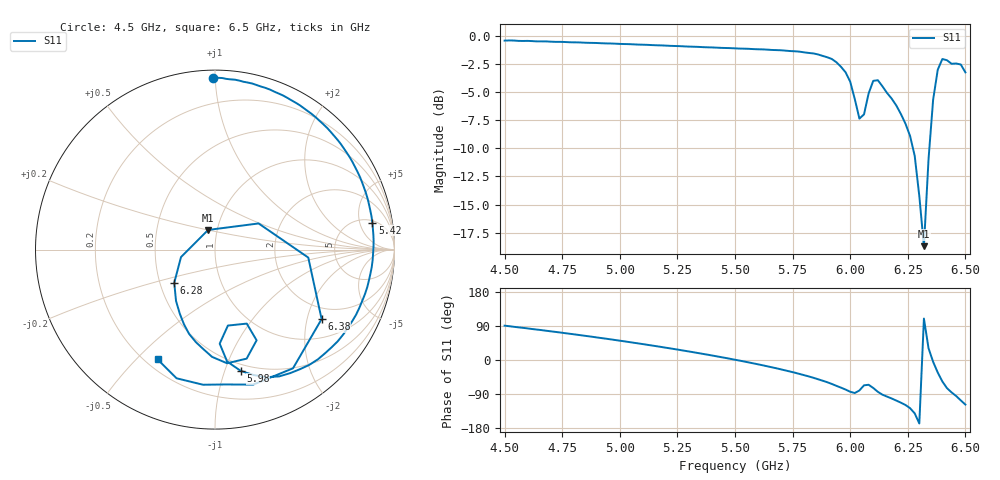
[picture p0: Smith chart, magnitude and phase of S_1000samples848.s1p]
! TOUCHSTONE file generated by CST MICROWAVE STUDIO
! Date and time: Sat Oct 29 14:24:57 2022
! Project name: L.cst
! Parameters = {Di=1.27; Epsilon_r=1.56; InnerDiameter=1.27; Length=2; Lf=10; Lg=60; OuterConductorThickness=0.2921; OuterDiameter=3.6; Wf=3; Wp=41.2; de=1.5; df=6.8; g=0.8; gx=3.19016; gy=3.6694; h=2.34; hf=1.524; px=9.16369; py=14.858; w=9.7; wx=5.97353; wy=11.1886}
! Header version: 2018
! Port assignment regex: !\s*Touchstone port\s*([0-9]+)\s*=\s*(CST MWS port|CST DS port)\s*([0-9]+|Zmin|Zmax)\s*\(\"(.*)\"\)(\s*mode\s*([0-9]+))?.*
! Touchstone port assignment:
! Touchstone port 1 = CST MWS port 1 ("")
# GHz S DB R 50
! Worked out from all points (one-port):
!   101 points, 4.5 GHz to 6.5 GHz, reference 50 ohm
!   lowest |S11| = -18.7 dB at 6.32 GHz (marker M1), VSWR 1.26, Z = 45.2 + j10 ohm
!   |S11| at or under -10 dB: 6.273 GHz to 6.344 GHz (71.11 MHz wide, 1.13 % of centre)
!   S11 on the Smith chart (normalised r, x): 4.5 GHz: 0.04, +0.99; 5.42 GHz: 5.52, +7.95; 5.98 GHz: 0.44, -1.13; 6.28 GHz: 0.59, -0.24; 6.38 GHz: 1.58, -2.46; 6.5 GHz: 0.25, -0.58
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4.5  -0.39 90.6
4.76  -0.51 71.0
5  -0.68 51.0
5.26  -0.88 26.5
5.42  -1.02 9.7
5.5  -1.08 0.7
5.64  -1.19 -16.6
5.76  -1.34 -33.5
5.92  -2.03 -63.2
5.98  -3.22 -78.0
6  -4.05 -83.8
6.02  -5.60 -87.1
6.04  -7.34 -80.4
6.06  -6.96 -66.8
6.08  -5.10 -65.4
6.12  -3.92 -83.9
6.18  -5.56 -101.5
6.26  -8.90 -127.2
6.28  -10.66 -140.8
6.3  -14.24 -167.6
6.32  -18.71 109.3
6.34  -10.96 31.0
6.36  -5.65 -4.9
6.38  -2.99 -33.1
6.4  -2.03 -56.7
6.42  -2.14 -74.2
6.46  -2.43 -95.1
6.5  -3.22 -117.6
